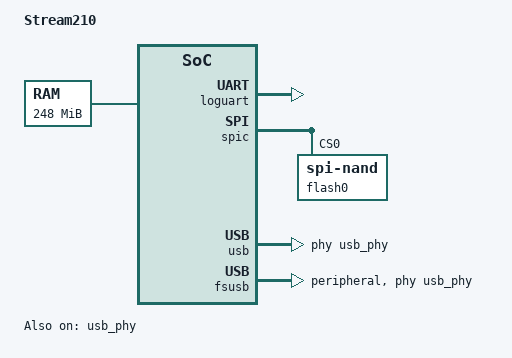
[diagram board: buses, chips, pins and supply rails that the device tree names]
// SPDX-License-Identifier: GPL-2.0-or-later

/dts-v1/;

#include <dt-bindings/realtek/ameba_ipc/ameba_ipc_resource.h>

/ {
	model = "Stream210";
	compatible = "realtek,ameba";
	#address-cells = <1>;
	#size-cells = <1>;

	ocp {
		compatible = "simple-bus";
		#address-cells = <1>;
		#size-cells = <1>;
		ranges;

		loguart: dwapb@4200c000 {
			compatible = "realtek,ameba-loguart";
			reg = <0x4200c000 0x100>;
			reg-shift = <2>;
			reg-io-width = <1>;
			clock-frequency = <40000000>;
		};

		spic: spi@44000000 {
			compatible = "realtek,rxi312";
			#address-cells = <1>;
			#size-cells = <0>;
			bus_num = <2>;
			reg = <0x44000000 0x200>;
			spi-deactivate-delay = <0>;

			flash0: flash@0 {
				compatible = "spi-nand";
				reg = <0>;
			};
		};

		usb: usb@40080000 {
			compatible = "realtek,dwc-otg";
			reg = <0x40080000 0x20000>;
			g-rx-fifo-size = <512>;
			g-np-tx-fifo-size = <256>;
			g-tx-fifo-size = <128 120>;
			phys = <&usb_phy 0>;
			phy-names = "usb2-phy";
			status = "okay";
		};

		fsusb: fsusb@40080000 {
			compatible = "realtek,dwc-fastboot";
			reg = <0x40080000 0x20000>;
			g-rx-fifo-size = <512>;
			g-np-tx-fifo-size = <256>;
			g-tx-fifo-size = <128 120>;
			phys = <&usb_phy>;
			phy-names = "usb2-phy";
			dr_mode="peripheral";
			status = "okay";
			u-boot,force-b-session-valid;
		};

		usb_phy: usb-phy@41000000 {
			compatible = "realtek,ameba-otg-phy";
			reg = <0x400B0000 0x20>,
				<0x41000060 4>,
				<0x42008000 0x400>;
			rtk,cal-data = <0x00 0xE0 0x9D>,
				<0x00 0xE1 0x19>,
				<0x00 0xE2 0xDB>,
				<0x00 0xE4 0x86>,
				<0x00 0xF7 0x3A>,
				<0x01 0xE5 0x0A>,
				<0x01 0xE6 0xD8>,
				<0x02 0xE7 0x62>,
				<0x01 0xE0 0x04>,
				<0x01 0xE0 0x00>,
				<0x01 0xE0 0x04>;
			#phy-cells = <0>;
			status = "okay";
		};

		otp: otp@0 {
			compatible = "realtek,ameba-otp";
			reg = <0x42000000 0x800>,
				<0x42008000 0x1000>;
		};
	};

	memory {
		device_type = "memory";
		reg = <0x60800000 0xF800000>;
	};

	chosen {
		stdout-path = &loguart;
	};
};
